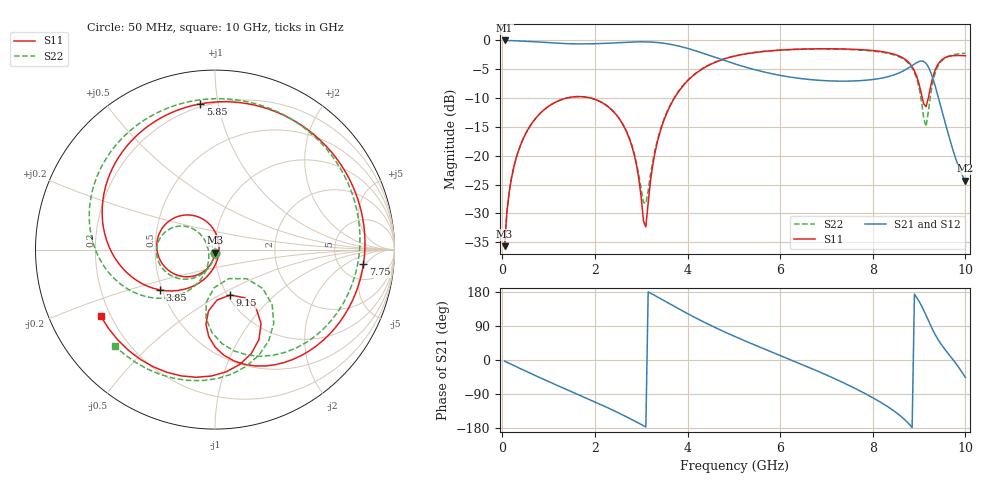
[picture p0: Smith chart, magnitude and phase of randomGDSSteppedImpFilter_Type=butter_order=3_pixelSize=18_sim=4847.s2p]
! freq	dB(S11)	phase(S11)	dB(S12)	phase(S12)
!  dB(S21)	phase(S21)	dB(S22)	phase(S22)
!S-par simulation data
#  GHz  S  DB  R 50
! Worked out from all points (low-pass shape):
!   200 points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, 50 MHz to 10 GHz, reference 50 ohm
!   highest |S21| = -0.01 dB at 50 MHz (marker M1); lowest = -24.3 dB at 10 GHz (marker M2)
!   |S21| within 3 dB of the highest: start of sweep to 4.622 GHz
!   lowest |S11| = -35.7 dB at 50 MHz (marker M3), VSWR 1.03, Z = 49.9 - j1.64 ohm
!   |S11| at or under -10 dB: start of sweep to 1.39 GHz; 1.911 GHz to 3.717 GHz (1.806 GHz wide, 64.2 % of centre); 9.071 GHz to 9.2 GHz (128.7 MHz wide, 1.41 % of centre)
!   |S22| runs from -35.7 to -1.5 dB; largest |S21 - S12| = 0
!   S11 on the Smith chart (normalised r, x): 50 MHz: 1.00, -0.03; 3.85 GHz: 0.49, -0.26; 5.85 GHz: 0.18, +0.89; 7.75 GHz: 8.47, -4.45; 9.15 GHz: 1.03, -0.56; 10 GHz: 0.16, -0.26
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0.05  -35.68 -92.7  -0.01 -3.0  -0.01 -3.0  -35.67 -92.4
0.2  -23.80 -102.5  -0.04 -11.7  -0.04 -11.7  -23.80 -101.3
0.5  -16.24 -120.9  -0.15 -29.0  -0.15 -29.0  -16.24 -118.0
1.1  -10.92 -156.2  -0.45 -62.3  -0.45 -62.3  -10.92 -149.5
1.75  -9.77 166.7  -0.61 -97.1  -0.61 -97.1  -9.77 178.5
2.65  -15.27 109.1  -0.33 -148.0  -0.33 -148.0  -15.22 137.1
2.9  -21.69 84.1  -0.25 -163.6  -0.25 -163.6  -21.31 135.7
3.1  -32.35 -23.9  -0.25 -176.7  -0.25 -176.7  -28.30 -156.8
3.4  -16.06 -106.7  -0.40 163.0  -0.40 163.0  -15.80 -114.3
3.85  -8.41 -143.7  -1.06 132.4  -1.06 132.4  -8.33 -135.2
4.45  -4.34 175.0  -2.54 94.3  -2.54 94.3  -4.30 -168.5
5.05  -2.66 139.0  -4.14 60.5  -4.14 60.5  -2.63 161.0
5.85  -1.77 95.8  -5.83 19.5  -5.83 19.5  -1.76 123.3
6.7  -1.47 51.5  -6.83 -23.6  -6.83 -23.6  -1.49 81.8
7.75  -1.61 -5.6  -6.96 -83.1  -6.96 -83.1  -1.68 19.9
8.35  -2.17 -43.5  -6.25 -125.5  -6.25 -125.5  -2.29 -26.4
8.8  -4.03 -80.3  -4.63 -171.1  -4.63 -171.1  -4.23 -73.0
9  -7.57 -96.9  -3.65 154.8  -3.65 154.8  -8.25 -97.4
9.15  -11.49 -71.4  -3.97 117.9  -3.97 117.9  -14.94 -64.4
9.4  -4.24 -70.8  -9.40 56.0  -9.40 56.0  -4.59 -59.5
9.65  -2.75 -104.9  -16.79 13.7  -16.79 13.7  -2.69 -95.8
10  -2.65 -149.9  -24.31 -46.2  -24.31 -46.2  -2.22 -136.0
